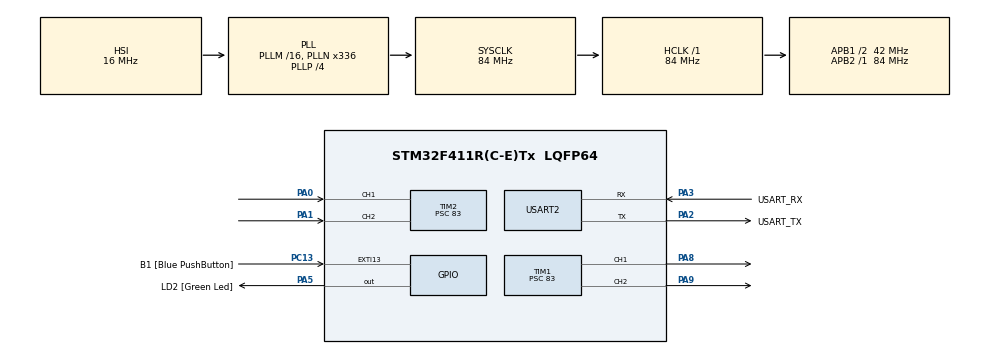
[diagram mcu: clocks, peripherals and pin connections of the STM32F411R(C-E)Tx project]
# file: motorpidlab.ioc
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ARM.CMSIS.5.6.0.CMSISJjCORE=true
ARM.CMSIS.5.6.0.CMSISJjDSP=Library
Mcu.Family=STM32F4
Mcu.Name=STM32F411R(C-E)Tx
Mcu.Package=LQFP64
NVIC.PriorityGroup=NVIC_PRIORITYGROUP_0
PA0-WKUP.Signal=S_TIM2_CH1_ETR
PA1.Signal=S_TIM2_CH2
PA13.GPIO_Label=TMS
PA13.Mode=Trace_Asynchronous_SW
PA13.Signal=SYS_JTMS-SWDIO
PA14.GPIO_Label=TCK
PA14.Mode=Trace_Asynchronous_SW
PA14.Signal=SYS_JTCK-SWCLK
PA2.GPIO_Label=USART_TX
PA2.Mode=Asynchronous
PA2.Signal=USART2_TX
PA3.GPIO_Label=USART_RX
PA3.Mode=Asynchronous
PA3.Signal=USART2_RX
PA5.GPIO_Label=LD2 [Green Led]
PA5.Signal=GPIO_Output
PA8.Signal=S_TIM1_CH1
PA9.Signal=S_TIM1_CH2
PB3.GPIO_Label=SWO
PB3.Mode=Trace_Asynchronous_SW
PB3.Signal=SYS_JTDO-SWO
PC13-ANTI_TAMP.GPIO_Label=B1 [Blue PushButton]
PC13-ANTI_TAMP.GPIO_ModeDefaultEXTI=GPIO_MODE_IT_FALLING
PC13-ANTI_TAMP.Signal=GPXTI13
PC14-OSC32_IN.Mode=LSE-External-Oscillator
PC14-OSC32_IN.Signal=RCC_OSC32_IN
PC15-OSC32_OUT.Mode=LSE-External-Oscillator
PC15-OSC32_OUT.Signal=RCC_OSC32_OUT
PH0\ -\ OSC_IN.Mode=HSE-External-Clock-Source
PH0\ -\ OSC_IN.Signal=RCC_OSC_IN
PH1\ -\ OSC_OUT.Mode=HSE-External-Clock-Source
PH1\ -\ OSC_OUT.Signal=RCC_OSC_OUT
ProjectManager.HeapSize=0x200
ProjectManager.StackSize=0x400
ProjectManager.TargetToolchain=STM32CubeIDE
RCC.48MHZClocksFreq_Value=84000000
RCC.AHBFreq_Value=84000000
RCC.APB1CLKDivider=RCC_HCLK_DIV2
RCC.APB1Freq_Value=42000000
RCC.APB1TimFreq_Value=84000000
RCC.APB2Freq_Value=84000000
RCC.APB2TimFreq_Value=84000000
RCC.CortexFreq_Value=84000000
RCC.FLatency-AdvancedSettings=FLASH_LATENCY_2
RCC.HCLKFreq_Value=84000000
RCC.HSE_VALUE=8000000
RCC.HSI_VALUE=16000000
RCC.PLLN=336
RCC.PLLP=RCC_PLLP_DIV4
RCC.SYSCLKFreq_VALUE=84000000
RCC.SYSCLKSource=RCC_SYSCLKSOURCE_PLLCLK
RCC.VCOOutputFreq_Value=336000000
SH.S_TIM1_CH1.0=TIM1_CH1,PWM Generation1 CH1
SH.S_TIM1_CH2.0=TIM1_CH2,PWM Generation2 CH2
SH.S_TIM2_CH1_ETR.0=TIM2_CH1,Encoder_Interface
SH.S_TIM2_CH2.0=TIM2_CH2,Encoder_Interface
TIM1.Channel-PWM\ Generation1\ CH1=TIM_CHANNEL_1
TIM1.Channel-PWM\ Generation2\ CH2=TIM_CHANNEL_2
TIM1.Period=999
TIM1.Prescaler=83
TIM1.Pulse-PWM\ Generation1\ CH1=500
TIM1.Pulse-PWM\ Generation2\ CH2=500
TIM2.EncoderMode=TIM_ENCODERMODE_TI12
TIM2.Period=307199
TIM2.Prescaler=83
USART2.VirtualMode=VM_ASYNC
VP_ARM.CMSIS_VS_CMSISJjCORE_5.3.0_5.6.0.Mode=CMSISJjCORE
VP_ARM.CMSIS_VS_CMSISJjDSP_1.7.0_5.6.0.Mode=CMSISJjDSP
VP_TIM1_VS_ClockSourceINT.Mode=Internal
board=NUCLEO-F411RE

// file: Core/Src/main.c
/* USER CODE BEGIN Header */
/**
  ******************************************************************************
  * @file           : main.c
  * @brief          : Main program body
  ******************************************************************************
  * @attention
  *
  * Copyright (c) 2023 STMicroelectronics.
  * All rights reserved.
  *
  * This software is licensed under terms that can be found in the LICENSE file
  * in the root directory of this software component.
  * If no LICENSE file comes with this software, it is provided AS-IS.
  *
  ******************************************************************************
  */
/* USER CODE END Header */
#include "main.h"

/* USER CODE BEGIN Includes */
#include "arm_math.h"
/* USER CODE END Includes */

TIM_HandleTypeDef htim1;
TIM_HandleTypeDef htim2;

UART_HandleTypeDef huart2;

/* USER CODE BEGIN PV */
arm_pid_instance_f32 PID = {0};
float setposition = 0 ;
uint32_t position = 0 ;
uint16_t u = 0 ;
uint16_t e ;
uint16_t duty =0;
uint16_t p =0;
uint16_t s =0;
float Kp = 1 ;// system fast
float Ki =0 ; // เเม่นยำ
float Kd =0;
int test =0;
/* USER CODE END PV */

void SystemClock_Config(void);
static void MX_GPIO_Init(void);
static void MX_USART2_UART_Init(void);
static void MX_TIM2_Init(void);
static void MX_TIM1_Init(void);
/* USER CODE BEGIN PFP */
void calpid();
/* USER CODE END PFP */

int main(void)
{

  /* MCU Configuration--------------------------------------------------------*/

  /* Reset of all peripherals, Initializes the Flash interface and the Systick. */
  HAL_Init();

  /* Configure the system clock */
  SystemClock_Config();

  /* Initialize all configured peripherals */
  MX_GPIO_Init();
  MX_USART2_UART_Init();
  MX_TIM2_Init();
  MX_TIM1_Init();
  /* USER CODE BEGIN 2 */
  HAL_TIM_Encoder_Start(&htim2, TIM_CHANNEL_1||TIM_CHANNEL_2);

  HAL_TIM_Base_Start(&htim1);
  HAL_TIM_PWM_Start(&htim1,TIM_CHANNEL_1);
  HAL_TIM_PWM_Start(&htim1,TIM_CHANNEL_2);

  /* USER CODE END 2 */

  /* Infinite loop */
  while (1)
  {

    /* USER CODE BEGIN 3 */
	 // __HAL_TIM_SET_COMPARE(&htim1,TIM_CHANNEL_1,100);
	  static uint32_t timestamp = 0 ;
	  if(HAL_GetTick()>timestamp)
	  {

		  timestamp = HAL_GetTick() + 10 ;

		  calpid() ;

     	if(setposition > position)
    	{
     	//	__HAL_TIM_SET_COMPARE(&htim1,TIM_CHANNEL_2,0);
     		__HAL_TIM_SET_COMPARE(&htim1,TIM_CHANNEL_2,u);

        }
       if(setposition < position)
     	{
     		//__HAL_TIM_SET_COMPARE(&htim1,TIM_CHANNEL_1,0);
    	   __HAL_TIM_SET_COMPARE(&htim1,TIM_CHANNEL_1,u*(-1));
    	   test = 1 ;
     	}
     	if(setposition == position)
     	{
     		__HAL_TIM_SET_COMPARE(&htim1,TIM_CHANNEL_1,0);
     		__HAL_TIM_SET_COMPARE(&htim1,TIM_CHANNEL_2,0);
     	}

	  }

  }
  /* USER CODE END 3 */
}

void SystemClock_Config(void)
{
  RCC_OscInitTypeDef RCC_OscInitStruct = {0};
  RCC_ClkInitTypeDef RCC_ClkInitStruct = {0};

  /** Configure the main internal regulator output voltage
  */
  __HAL_RCC_PWR_CLK_ENABLE();
  __HAL_PWR_VOLTAGESCALING_CONFIG(PWR_REGULATOR_VOLTAGE_SCALE1);

  /** Initializes the RCC Oscillators according to the specified parameters
  * in the RCC_OscInitTypeDef structure.
  */
  RCC_OscInitStruct.OscillatorType = RCC_OSCILLATORTYPE_HSI;
  RCC_OscInitStruct.HSIState = RCC_HSI_ON;
  RCC_OscInitStruct.HSICalibrationValue = RCC_HSICALIBRATION_DEFAULT;
  RCC_OscInitStruct.PLL.PLLState = RCC_PLL_ON;
  RCC_OscInitStruct.PLL.PLLSource = RCC_PLLSOURCE_HSI;
  RCC_OscInitStruct.PLL.PLLM = 16;
  RCC_OscInitStruct.PLL.PLLN = 336;
  RCC_OscInitStruct.PLL.PLLP = RCC_PLLP_DIV4;
  RCC_OscInitStruct.PLL.PLLQ = 4;
  if (HAL_RCC_OscConfig(&RCC_OscInitStruct) != HAL_OK)
  {
    Error_Handler();
  }

  /** Initializes the CPU, AHB and APB buses clocks
  */
  RCC_ClkInitStruct.ClockType = RCC_CLOCKTYPE_HCLK|RCC_CLOCKTYPE_SYSCLK
                              |RCC_CLOCKTYPE_PCLK1|RCC_CLOCKTYPE_PCLK2;
  RCC_ClkInitStruct.SYSCLKSource = RCC_SYSCLKSOURCE_PLLCLK;
  RCC_ClkInitStruct.AHBCLKDivider = RCC_SYSCLK_DIV1;
  RCC_ClkInitStruct.APB1CLKDivider = RCC_HCLK_DIV2;
  RCC_ClkInitStruct.APB2CLKDivider = RCC_HCLK_DIV1;

  if (HAL_RCC_ClockConfig(&RCC_ClkInitStruct, FLASH_LATENCY_2) != HAL_OK)
  {
    Error_Handler();
  }
}

static void MX_TIM1_Init(void)
{

  TIM_ClockConfigTypeDef sClockSourceConfig = {0};
  TIM_MasterConfigTypeDef sMasterConfig = {0};
  TIM_OC_InitTypeDef sConfigOC = {0};
  TIM_BreakDeadTimeConfigTypeDef sBreakDeadTimeConfig = {0};

  htim1.Instance = TIM1;
  htim1.Init.Prescaler = 83;
  htim1.Init.CounterMode = TIM_COUNTERMODE_UP;
  htim1.Init.Period = 999;
  htim1.Init.ClockDivision = TIM_CLOCKDIVISION_DIV1;
  htim1.Init.RepetitionCounter = 0;
  htim1.Init.AutoReloadPreload = TIM_AUTORELOAD_PRELOAD_DISABLE;
  if (HAL_TIM_Base_Init(&htim1) != HAL_OK)
  {
    Error_Handler();
  }
  sClockSourceConfig.ClockSource = TIM_CLOCKSOURCE_INTERNAL;
  if (HAL_TIM_ConfigClockSource(&htim1, &sClockSourceConfig) != HAL_OK)
  {
    Error_Handler();
  }
  if (HAL_TIM_PWM_Init(&htim1) != HAL_OK)
  {
    Error_Handler();
  }
  sMasterConfig.MasterOutputTrigger = TIM_TRGO_RESET;
  sMasterConfig.MasterSlaveMode = TIM_MASTERSLAVEMODE_DISABLE;
  if (HAL_TIMEx_MasterConfigSynchronization(&htim1, &sMasterConfig) != HAL_OK)
  {
    Error_Handler();
  }
  sConfigOC.OCMode = TIM_OCMODE_PWM1;
  sConfigOC.Pulse = 500;
  sConfigOC.OCPolarity = TIM_OCPOLARITY_HIGH;
  sConfigOC.OCNPolarity = TIM_OCNPOLARITY_HIGH;
  sConfigOC.OCFastMode = TIM_OCFAST_DISABLE;
  sConfigOC.OCIdleState = TIM_OCIDLESTATE_RESET;
  sConfigOC.OCNIdleState = TIM_OCNIDLESTATE_RESET;
  if (HAL_TIM_PWM_ConfigChannel(&htim1, &sConfigOC, TIM_CHANNEL_1) != HAL_OK)
  {
    Error_Handler();
  }
  if (HAL_TIM_PWM_ConfigChannel(&htim1, &sConfigOC, TIM_CHANNEL_2) != HAL_OK)
  {
    Error_Handler();
  }
  sBreakDeadTimeConfig.OffStateRunMode = TIM_OSSR_DISABLE;
  sBreakDeadTimeConfig.OffStateIDLEMode = TIM_OSSI_DISABLE;
  sBreakDeadTimeConfig.LockLevel = TIM_LOCKLEVEL_OFF;
  sBreakDeadTimeConfig.DeadTime = 0;
  sBreakDeadTimeConfig.BreakState = TIM_BREAK_DISABLE;
  sBreakDeadTimeConfig.BreakPolarity = TIM_BREAKPOLARITY_HIGH;
  sBreakDeadTimeConfig.AutomaticOutput = TIM_AUTOMATICOUTPUT_DISABLE;
  if (HAL_TIMEx_ConfigBreakDeadTime(&htim1, &sBreakDeadTimeConfig) != HAL_OK)
  {
    Error_Handler();
  }
  HAL_TIM_MspPostInit(&htim1);

}

static void MX_TIM2_Init(void)
{

  TIM_Encoder_InitTypeDef sConfig = {0};
  TIM_MasterConfigTypeDef sMasterConfig = {0};

  htim2.Instance = TIM2;
  htim2.Init.Prescaler = 83;
  htim2.Init.CounterMode = TIM_COUNTERMODE_UP;
  htim2.Init.Period = 307199;
  htim2.Init.ClockDivision = TIM_CLOCKDIVISION_DIV1;
  htim2.Init.AutoReloadPreload = TIM_AUTORELOAD_PRELOAD_DISABLE;
  sConfig.EncoderMode = TIM_ENCODERMODE_TI12;
  sConfig.IC1Polarity = TIM_ICPOLARITY_RISING;
  sConfig.IC1Selection = TIM_ICSELECTION_DIRECTTI;
  sConfig.IC1Prescaler = TIM_ICPSC_DIV1;
  sConfig.IC1Filter = 0;
  sConfig.IC2Polarity = TIM_ICPOLARITY_RISING;
  sConfig.IC2Selection = TIM_ICSELECTION_DIRECTTI;
  sConfig.IC2Prescaler = TIM_ICPSC_DIV1;
  sConfig.IC2Filter = 0;
  if (HAL_TIM_Encoder_Init(&htim2, &sConfig) != HAL_OK)
  {
    Error_Handler();
  }
  sMasterConfig.MasterOutputTrigger = TIM_TRGO_RESET;
  sMasterConfig.MasterSlaveMode = TIM_MASTERSLAVEMODE_DISABLE;
  if (HAL_TIMEx_MasterConfigSynchronization(&htim2, &sMasterConfig) != HAL_OK)
  {
    Error_Handler();
  }

}

static void MX_USART2_UART_Init(void)
{

  huart2.Instance = USART2;
  huart2.Init.BaudRate = 115200;
  huart2.Init.WordLength = UART_WORDLENGTH_8B;
  huart2.Init.StopBits = UART_STOPBITS_1;
  huart2.Init.Parity = UART_PARITY_NONE;
  huart2.Init.Mode = UART_MODE_TX_RX;
  huart2.Init.HwFlowCtl = UART_HWCONTROL_NONE;
  huart2.Init.OverSampling = UART_OVERSAMPLING_16;
  if (HAL_UART_Init(&huart2) != HAL_OK)
  {
    Error_Handler();
  }

}

static void MX_GPIO_Init(void)
{
  GPIO_InitTypeDef GPIO_InitStruct = {0};

  /* GPIO Ports Clock Enable */
  __HAL_RCC_GPIOC_CLK_ENABLE();
  __HAL_RCC_GPIOH_CLK_ENABLE();
  __HAL_RCC_GPIOA_CLK_ENABLE();
  __HAL_RCC_GPIOB_CLK_ENABLE();

  /*Configure GPIO pin Output Level */
  HAL_GPIO_WritePin(LD2_GPIO_Port, LD2_Pin, GPIO_PIN_RESET);

  /*Configure GPIO pin : B1_Pin */
  GPIO_InitStruct.Pin = B1_Pin;
  GPIO_InitStruct.Mode = GPIO_MODE_IT_FALLING;
  GPIO_InitStruct.Pull = GPIO_NOPULL;
  HAL_GPIO_Init(B1_GPIO_Port, &GPIO_InitStruct);

  /*Configure GPIO pin : LD2_Pin */
  GPIO_InitStruct.Pin = LD2_Pin;
  GPIO_InitStruct.Mode = GPIO_MODE_OUTPUT_PP;
  GPIO_InitStruct.Pull = GPIO_NOPULL;
  GPIO_InitStruct.Speed = GPIO_SPEED_FREQ_LOW;
  HAL_GPIO_Init(LD2_GPIO_Port, &GPIO_InitStruct);

}

/* USER CODE BEGIN 4 */
int _write(int file,char *ptr,int len)
{
	int i;
	for(i = 0;i<len ; i++)
	{
		ITM_SendChar(*ptr++);
	}
	return len ;
}
void calpid()
{
	position = __HAL_TIM_GET_COUNTER(&htim2)*0.117;
	e = setposition - position ;
	s = s+e ;
	u = (Kp*e)+(Ki*s)+(Kd*(e-p)) ;
	p = e ;

}
/*float PlantSimulation(float VIn)
{
	static float speed = 0 ;
	static float position
}*/
/*float IC_Calc_Period()
{
	uint32_t currentDMAPointer = IC_BUFFER_SIZE - __HAL_DMA_GET_COUNTER((htim2.hdma[1])); // รู้ตำเเหน่งปัจจุบัน
	uint32_t lastVaildDMAPointer = (currentDMAPointer-1 + IC_BUFFER_SIZE)%IC_BUFFER_SIZE; //

}*/

/* USER CODE END 4 */

void Error_Handler(void)
{
  __disable_irq();
  while (1)
  {
  }
}
